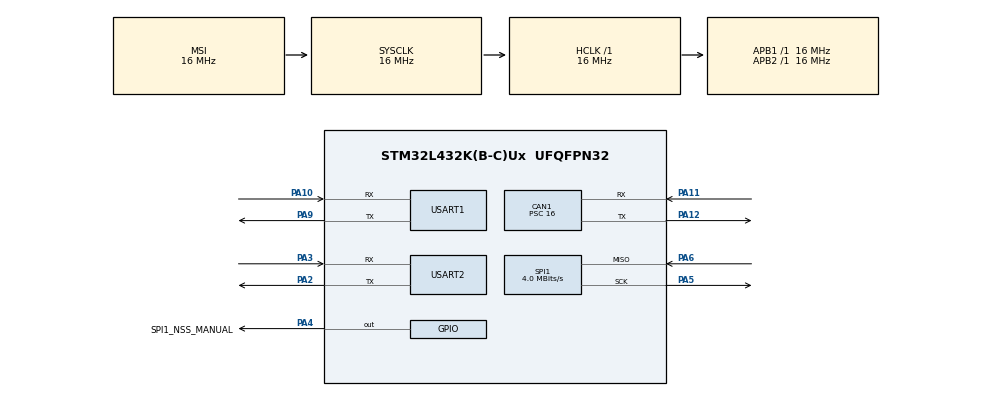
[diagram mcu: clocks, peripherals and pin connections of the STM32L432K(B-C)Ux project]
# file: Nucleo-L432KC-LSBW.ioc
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CAN1.ABOM=ENABLE
CAN1.BS1=CAN_BS1_11TQ
CAN1.BS2=CAN_BS2_8TQ
CAN1.CalculateBaudRate=50000
CAN1.CalculateTimeBit=20000
CAN1.CalculateTimeQuantum=1000.0
CAN1.Mode=CAN_MODE_NORMAL
CAN1.Prescaler=16
CAN1.SJW=CAN_SJW_1TQ
CAN1.TTCM=DISABLE
Mcu.Family=STM32L4
Mcu.Name=STM32L432K(B-C)Ux
Mcu.Package=UFQFPN32
NVIC.CAN1_RX0_IRQn=true\:0\:0\:false\:false\:true\:true\:true\:true
NVIC.CAN1_RX1_IRQn=true\:0\:0\:false\:false\:true\:true\:true\:true
NVIC.PriorityGroup=NVIC_PRIORITYGROUP_4
NVIC.SPI1_IRQn=true\:0\:0\:false\:false\:true\:true\:true\:true
NVIC.TIM6_DAC_IRQn=true\:0\:0\:false\:false\:true\:true\:true\:true
NVIC.USART1_IRQn=true\:0\:0\:false\:false\:true\:true\:true\:true
NVIC.USART2_IRQn=true\:0\:0\:false\:false\:true\:true\:true\:true
PA10.Mode=Asynchronous
PA10.Signal=USART1_RX
PA11.Mode=CAN_Activate
PA11.Signal=CAN1_RX
PA12.Mode=CAN_Activate
PA12.Signal=CAN1_TX
PA13\ (JTMS-SWDIO).Mode=Serial_Wire
PA13\ (JTMS-SWDIO).Signal=SYS_JTMS-SWDIO
PA14\ (JTCK-SWCLK).Mode=Serial_Wire
PA14\ (JTCK-SWCLK).Signal=SYS_JTCK-SWCLK
PA2.Mode=Asynchronous
PA2.Signal=USART2_TX
PA3.Mode=Asynchronous
PA3.Signal=USART2_RX
PA4.GPIO_Label=SPI1_NSS_MANUAL
PA4.Signal=GPIO_Output
PA5.Mode=RX_Only_Simplex_Unidirect_Master
PA5.Signal=SPI1_SCK
PA6.Mode=RX_Only_Simplex_Unidirect_Master
PA6.Signal=SPI1_MISO
PA9.Mode=Asynchronous
PA9.Signal=USART1_TX
ProjectManager.HeapSize=0x200
ProjectManager.StackSize=0x400
ProjectManager.TargetToolchain=STM32CubeIDE
RCC.ADCFreq_Value=64000000
RCC.AHBFreq_Value=16000000
RCC.APB1Freq_Value=16000000
RCC.APB1TimFreq_Value=16000000
RCC.APB2Freq_Value=16000000
RCC.APB2TimFreq_Value=16000000
RCC.CortexFreq_Value=16000000
RCC.HCLKFreq_Value=16000000
RCC.HSE_VALUE=8000000
RCC.HSI48_VALUE=48000000
RCC.HSI_VALUE=16000000
RCC.LSE_VALUE=32768
RCC.MSIClockRange=RCC_MSIRANGE_8
RCC.MSI_VALUE=16000000
RCC.SYSCLKFreq_VALUE=16000000
RCC.USBFreq_Value=64000000
RCC.VCOOutputFreq_Value=128000000
SPI1.BaudRatePrescaler=SPI_BAUDRATEPRESCALER_4
SPI1.CLKPhase=SPI_PHASE_2EDGE
SPI1.CalculateBaudRate=4.0 MBits/s
SPI1.DataSize=SPI_DATASIZE_16BIT
SPI1.Direction=SPI_DIRECTION_2LINES_RXONLY
SPI1.Mode=SPI_MODE_MASTER
SPI1.VirtualType=VM_MASTER
TIM6.Period=20000
TIM6.Prescaler=16-1
USART1.VirtualMode-Asynchronous=VM_ASYNC
USART2.VirtualMode-Asynchronous=VM_ASYNC
VP_TIM6_VS_ClockSourceINT.Mode=Enable_Timer
board=custom

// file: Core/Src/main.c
/* USER CODE BEGIN Header */
/**
  ******************************************************************************
  * @file           : main.c
  * @brief          : Main program body
  ******************************************************************************
  * @attention
  *
  * Copyright (c) 2022 STMicroelectronics.
  * All rights reserved.
  *
  * This software is licensed under terms that can be found in the LICENSE file
  * in the root directory of this software component.
  * If no LICENSE file comes with this software, it is provided AS-IS.
  *
  ******************************************************************************
  */
/* USER CODE END Header */
#include "main.h"

/* USER CODE BEGIN Includes */

#include "utils.h"
#include "vesc.h"
#include "as5047p.h"
#include "math.h"
#include <stdio.h>

/* USER CODE END Includes */

CAN_HandleTypeDef hcan1;

SPI_HandleTypeDef hspi1;

TIM_HandleTypeDef htim6;

UART_HandleTypeDef huart1;
UART_HandleTypeDef huart2;

/* USER CODE BEGIN PV */

#define VESC_UART &huart1

as5047p_spi_comm_stats_t as5047p;

/* USER CODE END PV */

void SystemClock_Config(void);
static void MX_GPIO_Init(void);
static void MX_CAN1_Init(void);
static void MX_USART1_UART_Init(void);
static void MX_USART2_UART_Init(void);
static void MX_SPI1_Init(void);
static void MX_TIM6_Init(void);

/* USER CODE BEGIN PFP */
float wrap_to_pi(float angle);

/* USER CODE END PFP */

/* USER CODE BEGIN 0 */

CAN_TxHeaderTypeDef TxHeader;
CAN_RxHeaderTypeDef RxHeader;

uint32_t TxMailbox;

uint8_t TxData[8];
uint8_t RxData[8];

uint8_t vesc_packet[10];

float error = 0.0;
float error_prev = 0.0;

float error_multiplier = 1.8;

float kp_e = 0.20;
float kd_e = 0.15;

float current_multiplier = 1;
float kp_v = 0.02;

float vel = 0.0;
float vel_limit = 150.0;
//////////////////////////////////////////////////////////////////////////////////////
double steer_measured = 0.0;
double steer_desired = 0.0;

double steer_prev = 0.0;
double steer_pred = 0.0;

float steer_offset = 156.2;

float cycle_time = 0.02;
float look_ahead_time = 0.5;

void HAL_CAN_RxFifo0MsgPendingCallback(CAN_HandleTypeDef *hcan1)
{
  if (HAL_CAN_GetRxMessage(hcan1, CAN_RX_FIFO0, &RxHeader, RxData) != HAL_OK)
  {
    Error_Handler();
  }

  if ((RxHeader.StdId == 0x104))
  {

  }
}

int _write(int file, char *ptr, int len){
	HAL_UART_Transmit(&huart2, (uint8_t*)ptr, len, HAL_MAX_DELAY);
	return len;
}

// wrap angle between -PI and PI
float wrap_to_pi(float angle){
	float new_angle;

	if (angle < -180.0){
		new_angle = angle + 360.0;
	} else if (angle > 180.0){
		new_angle = angle - 360.0;
	} else{
		new_angle = angle;
	}

	return new_angle;
}

// Timer callback every 20ms (frequency = 50Hz)
void HAL_TIM_PeriodElapsedCallback(TIM_HandleTypeDef *htim) {

	if (htim == &htim6) {
		// read the current steering angle from the sensor
	    if (spi_as5047p_blocking_read(&steer_measured, &as5047p) == HAL_OK) {
	    	steer_measured -= steer_offset;
		    steer_measured = wrap_to_pi(steer_measured);
	    }

	    steer_desired = (double)(RxData[0] - 60.0);
	    steer_desired = wrap_to_pi(steer_desired);

	    float steer_velocity = (steer_measured - steer_prev) / cycle_time;

	    steer_prev = steer_measured;

	    steer_pred = steer_measured + steer_velocity * look_ahead_time;

	    error = steer_desired - steer_pred;

	    if (error > -0.5 && error < 0.5){
	    	error = 0.0;
	    }

	    vel += (error * kp_e + (error - error_prev) * kd_e) * error_multiplier;

	    error_prev = error;

	    if (vel > vel_limit){
	    	vel = vel_limit;
	    }

	    if (vel < -vel_limit){
	    	vel = -vel_limit;
	    }

	    vel *= 0.995;

	    float current = kp_v * current_multiplier * vel;

		vesc_set_current(vesc_packet, (float)current);
		HAL_UART_Transmit(VESC_UART, vesc_packet, sizeof(vesc_packet), 2);

	    printf(
	  	  "velocity: %.2f \r\n", vel
	    );

	    printf(
	  	  "steering angle desired: %.2f \r\n", steer_desired
	    );

	    printf(
	  	  "steering angle measured: %.2f \r\n", steer_measured
	    );

	    printf(
	  	  "steering angle error: %.2f \r\n", error
	    );

	    printf(
	  	  "raw current control: %.2f \r\n", current
	    );
	}
}
/* USER CODE END 0 */

int main(void)
{

  /* MCU Configuration--------------------------------------------------------*/

  /* Reset of all peripherals, Initializes the Flash interface and the Systick. */
  HAL_Init();

  /* Configure the system clock */
  SystemClock_Config();

  /* Initialize all configured peripherals */
  MX_GPIO_Init();
  MX_CAN1_Init();
  MX_USART1_UART_Init();
  MX_USART2_UART_Init();
  MX_SPI1_Init();
  MX_TIM6_Init();
  /* USER CODE BEGIN 2 */

  HAL_CAN_Start(&hcan1);

  HAL_CAN_ActivateNotification(&hcan1, CAN_IT_RX_FIFO0_MSG_PENDING);

  TxHeader.DLC = 1;
  TxHeader.ExtId = 0;
  TxHeader.IDE = CAN_ID_STD;
  TxHeader.RTR = CAN_RTR_DATA;
  TxHeader.StdId = 0x103;
  TxHeader.TransmitGlobalTime = DISABLE;

  HAL_TIM_Base_Start_IT(&htim6);

  HAL_Delay(1000);

  /* USER CODE END 2 */

  /* Infinite loop */
  /* USER CODE BEGIN WHILE */

  while (1)
  {

  }
}

void SystemClock_Config(void)
{
  RCC_OscInitTypeDef RCC_OscInitStruct = {0};
  RCC_ClkInitTypeDef RCC_ClkInitStruct = {0};

  /** Configure the main internal regulator output voltage
  */
  if (HAL_PWREx_ControlVoltageScaling(PWR_REGULATOR_VOLTAGE_SCALE1) != HAL_OK)
  {
    Error_Handler();
  }

  /** Initializes the RCC Oscillators according to the specified parameters
  * in the RCC_OscInitTypeDef structure.
  */
  RCC_OscInitStruct.OscillatorType = RCC_OSCILLATORTYPE_MSI;
  RCC_OscInitStruct.MSIState = RCC_MSI_ON;
  RCC_OscInitStruct.MSICalibrationValue = 0;
  RCC_OscInitStruct.MSIClockRange = RCC_MSIRANGE_8;
  RCC_OscInitStruct.PLL.PLLState = RCC_PLL_NONE;
  if (HAL_RCC_OscConfig(&RCC_OscInitStruct) != HAL_OK)
  {
    Error_Handler();
  }

  /** Initializes the CPU, AHB and APB buses clocks
  */
  RCC_ClkInitStruct.ClockType = RCC_CLOCKTYPE_HCLK|RCC_CLOCKTYPE_SYSCLK
                              |RCC_CLOCKTYPE_PCLK1|RCC_CLOCKTYPE_PCLK2;
  RCC_ClkInitStruct.SYSCLKSource = RCC_SYSCLKSOURCE_MSI;
  RCC_ClkInitStruct.AHBCLKDivider = RCC_SYSCLK_DIV1;
  RCC_ClkInitStruct.APB1CLKDivider = RCC_HCLK_DIV1;
  RCC_ClkInitStruct.APB2CLKDivider = RCC_HCLK_DIV1;

  if (HAL_RCC_ClockConfig(&RCC_ClkInitStruct, FLASH_LATENCY_0) != HAL_OK)
  {
    Error_Handler();
  }
}

static void MX_CAN1_Init(void)
{

  hcan1.Instance = CAN1;
  hcan1.Init.Prescaler = 16;
  hcan1.Init.Mode = CAN_MODE_NORMAL;
  hcan1.Init.SyncJumpWidth = CAN_SJW_1TQ;
  hcan1.Init.TimeSeg1 = CAN_BS1_11TQ;
  hcan1.Init.TimeSeg2 = CAN_BS2_8TQ;
  hcan1.Init.TimeTriggeredMode = DISABLE;
  hcan1.Init.AutoBusOff = ENABLE;
  hcan1.Init.AutoWakeUp = DISABLE;
  hcan1.Init.AutoRetransmission = DISABLE;
  hcan1.Init.ReceiveFifoLocked = DISABLE;
  hcan1.Init.TransmitFifoPriority = DISABLE;
  if (HAL_CAN_Init(&hcan1) != HAL_OK)
  {
    Error_Handler();
  }
  /* USER CODE BEGIN CAN1_Init 2 */

  CAN_FilterTypeDef canfilterconfig;

  canfilterconfig.FilterActivation = CAN_FILTER_ENABLE;
  canfilterconfig.FilterBank = 10;  // which filter bank to use from the assigned ones
  canfilterconfig.FilterFIFOAssignment = CAN_FILTER_FIFO0;
  canfilterconfig.FilterIdHigh = 0x104<<5;
  canfilterconfig.FilterIdLow = 0x0000;
  canfilterconfig.FilterMaskIdHigh = 0x104<<5;
  canfilterconfig.FilterMaskIdLow = 0x0000;
  canfilterconfig.FilterMode = CAN_FILTERMODE_IDMASK;
  canfilterconfig.FilterScale = CAN_FILTERSCALE_32BIT;
  canfilterconfig.SlaveStartFilterBank = 20;  // how many filters to assign to the CAN1 (master can)

  HAL_CAN_ConfigFilter(&hcan1, &canfilterconfig);

  /* USER CODE END CAN1_Init 2 */

}

static void MX_SPI1_Init(void)
{

  /* SPI1 parameter configuration*/
  hspi1.Instance = SPI1;
  hspi1.Init.Mode = SPI_MODE_MASTER;
  hspi1.Init.Direction = SPI_DIRECTION_2LINES_RXONLY;
  hspi1.Init.DataSize = SPI_DATASIZE_16BIT;
  hspi1.Init.CLKPolarity = SPI_POLARITY_LOW;
  hspi1.Init.CLKPhase = SPI_PHASE_2EDGE;
  hspi1.Init.NSS = SPI_NSS_SOFT;
  hspi1.Init.BaudRatePrescaler = SPI_BAUDRATEPRESCALER_4;
  hspi1.Init.FirstBit = SPI_FIRSTBIT_MSB;
  hspi1.Init.TIMode = SPI_TIMODE_DISABLE;
  hspi1.Init.CRCCalculation = SPI_CRCCALCULATION_DISABLE;
  hspi1.Init.CRCPolynomial = 7;
  hspi1.Init.CRCLength = SPI_CRC_LENGTH_DATASIZE;
  hspi1.Init.NSSPMode = SPI_NSS_PULSE_DISABLE;
  if (HAL_SPI_Init(&hspi1) != HAL_OK)
  {
    Error_Handler();
  }

}

static void MX_TIM6_Init(void)
{

  TIM_MasterConfigTypeDef sMasterConfig = {0};

  htim6.Instance = TIM6;
  htim6.Init.Prescaler = 16-1;
  htim6.Init.CounterMode = TIM_COUNTERMODE_UP;
  htim6.Init.Period = 20000;
  htim6.Init.AutoReloadPreload = TIM_AUTORELOAD_PRELOAD_DISABLE;
  if (HAL_TIM_Base_Init(&htim6) != HAL_OK)
  {
    Error_Handler();
  }
  sMasterConfig.MasterOutputTrigger = TIM_TRGO_RESET;
  sMasterConfig.MasterSlaveMode = TIM_MASTERSLAVEMODE_DISABLE;
  if (HAL_TIMEx_MasterConfigSynchronization(&htim6, &sMasterConfig) != HAL_OK)
  {
    Error_Handler();
  }

}

static void MX_USART1_UART_Init(void)
{

  huart1.Instance = USART1;
  huart1.Init.BaudRate = 115200;
  huart1.Init.WordLength = UART_WORDLENGTH_8B;
  huart1.Init.StopBits = UART_STOPBITS_1;
  huart1.Init.Parity = UART_PARITY_NONE;
  huart1.Init.Mode = UART_MODE_TX_RX;
  huart1.Init.HwFlowCtl = UART_HWCONTROL_NONE;
  huart1.Init.OverSampling = UART_OVERSAMPLING_16;
  huart1.Init.OneBitSampling = UART_ONE_BIT_SAMPLE_DISABLE;
  huart1.AdvancedInit.AdvFeatureInit = UART_ADVFEATURE_NO_INIT;
  if (HAL_UART_Init(&huart1) != HAL_OK)
  {
    Error_Handler();
  }

}

static void MX_USART2_UART_Init(void)
{

  huart2.Instance = USART2;
  huart2.Init.BaudRate = 115200;
  huart2.Init.WordLength = UART_WORDLENGTH_8B;
  huart2.Init.StopBits = UART_STOPBITS_1;
  huart2.Init.Parity = UART_PARITY_NONE;
  huart2.Init.Mode = UART_MODE_TX_RX;
  huart2.Init.HwFlowCtl = UART_HWCONTROL_NONE;
  huart2.Init.OverSampling = UART_OVERSAMPLING_16;
  huart2.Init.OneBitSampling = UART_ONE_BIT_SAMPLE_DISABLE;
  huart2.AdvancedInit.AdvFeatureInit = UART_ADVFEATURE_NO_INIT;
  if (HAL_UART_Init(&huart2) != HAL_OK)
  {
    Error_Handler();
  }

}

static void MX_GPIO_Init(void)
{
  GPIO_InitTypeDef GPIO_InitStruct = {0};

  /* GPIO Ports Clock Enable */
  __HAL_RCC_GPIOA_CLK_ENABLE();

  /*Configure GPIO pin Output Level */
  HAL_GPIO_WritePin(SPI1_NSS_MANUAL_GPIO_Port, SPI1_NSS_MANUAL_Pin, GPIO_PIN_RESET);

  /*Configure GPIO pin : SPI1_NSS_MANUAL_Pin */
  GPIO_InitStruct.Pin = SPI1_NSS_MANUAL_Pin;
  GPIO_InitStruct.Mode = GPIO_MODE_OUTPUT_PP;
  GPIO_InitStruct.Pull = GPIO_NOPULL;
  GPIO_InitStruct.Speed = GPIO_SPEED_FREQ_LOW;
  HAL_GPIO_Init(SPI1_NSS_MANUAL_GPIO_Port, &GPIO_InitStruct);

}

void Error_Handler(void)
{
  __disable_irq();
  while (1)
  {
  }
}
